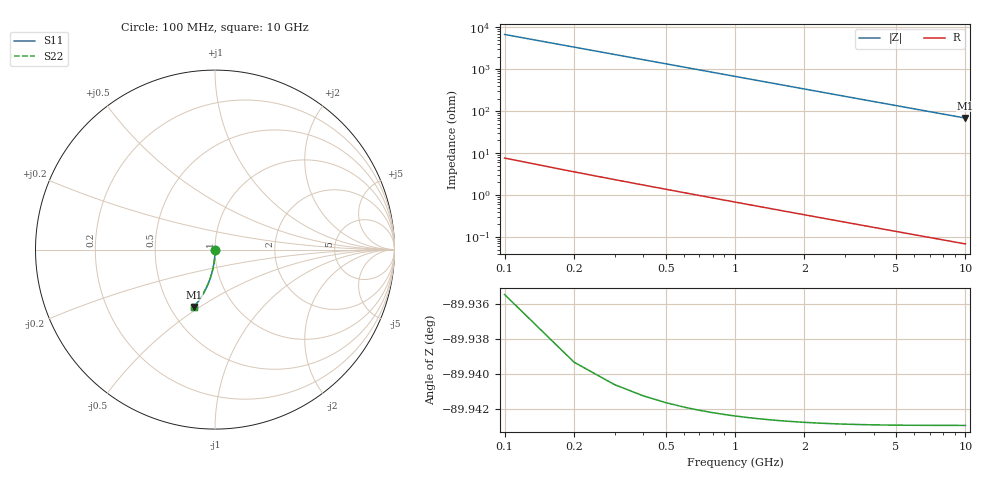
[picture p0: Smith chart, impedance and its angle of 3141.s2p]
# Hz S RI R 50.00
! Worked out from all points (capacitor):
!   100 points, 100 MHz to 10 GHz, reference 50 ohm
!   read as one part in shunt: C = 235 fF near 100 MHz
!   lowest |Z| = 68.5 ohm at 10 GHz (marker M1)
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1e8  -1.48e-05 -0.00368  1 -0.00372  1 -0.00372  -1.48e-05 -0.00368
2e8  -5.95e-05 -0.00736  0.9999 -0.00743  0.9999 -0.00743  -5.95e-05 -0.00736
3e8  -0.000131 -0.011  0.9999 -0.0111  0.9999 -0.0111  -0.000131 -0.011
4e8  -0.000231 -0.0147  0.9998 -0.0149  0.9998 -0.0149  -0.000231 -0.0147
5e8  -0.000357 -0.0184  0.9996 -0.0186  0.9996 -0.0186  -0.000357 -0.0184
6e8  -0.000511 -0.0221  0.9995 -0.0223  0.9995 -0.0223  -0.000511 -0.0221
7e8  -0.000692 -0.0257  0.9993 -0.026  0.9993 -0.026  -0.000692 -0.0257
8e8  -0.0009 -0.0294  0.9991 -0.0297  0.9991 -0.0297  -0.0009 -0.0294
9e8  -0.00114 -0.0331  0.9989 -0.0334  0.9989 -0.0334  -0.00114 -0.0331
1.1e9  -0.00169 -0.0404  0.9983 -0.0408  0.9983 -0.0408  -0.00169 -0.0404
1.4e9  -0.00271 -0.0513  0.9973 -0.0518  0.9973 -0.0518  -0.00271 -0.0513
1.8e9  -0.00446 -0.0658  0.9955 -0.0665  0.9955 -0.0665  -0.00446 -0.0658
2.1e9  -0.00604 -0.0766  0.994 -0.0774  0.994 -0.0774  -0.00604 -0.0766
2.5e9  -0.00851 -0.0909  0.9915 -0.0918  0.9915 -0.0918  -0.00851 -0.0909
2.9e9  -0.0114 -0.1051  0.9886 -0.1062  0.9886 -0.1062  -0.0114 -0.1051
3.4e9  -0.0155 -0.1226  0.9844 -0.1239  0.9844 -0.1239  -0.0155 -0.1226
4.2e9  -0.0234 -0.15  0.9766 -0.1516  0.9766 -0.1516  -0.0234 -0.15
5.1e9  -0.0341 -0.1799  0.9659 -0.1818  0.9659 -0.1818  -0.0341 -0.1799
5.9e9  -0.0449 -0.2056  0.9551 -0.2078  0.9551 -0.2078  -0.0449 -0.2056
6.7e9  -0.0571 -0.2302  0.9429 -0.2327  0.9429 -0.2327  -0.0571 -0.2302
8.4e9  -0.0865 -0.279  0.9135 -0.2822  0.9135 -0.2822  -0.0865 -0.279
1e10  -0.1179 -0.3201  0.8821 -0.3239  0.8821 -0.3239  -0.1179 -0.3201
